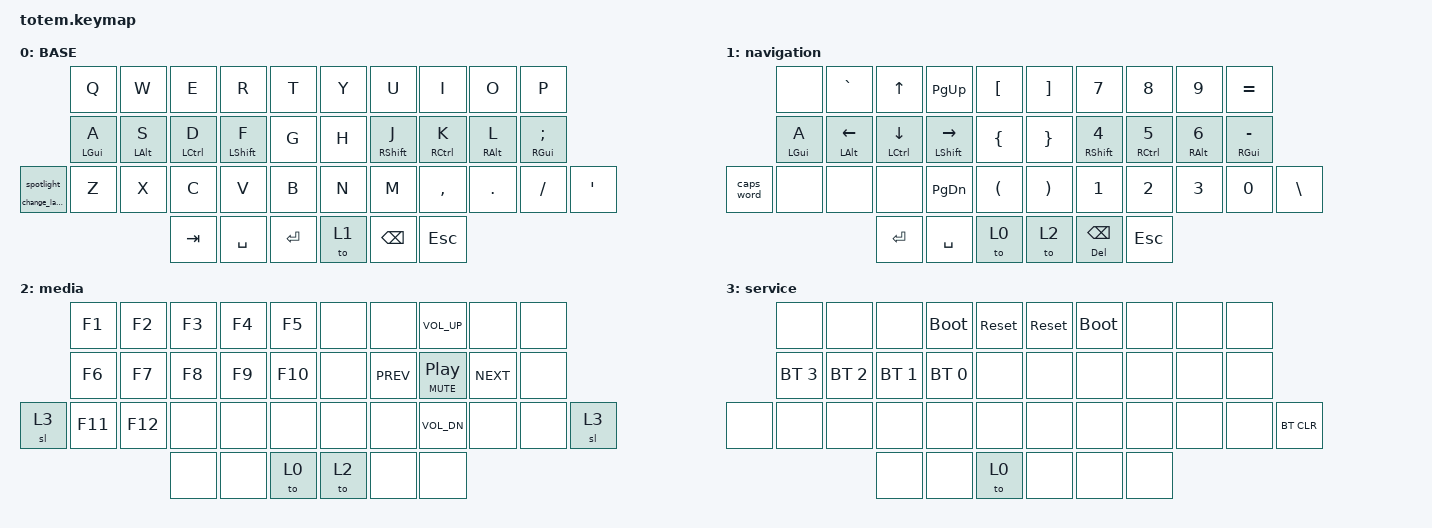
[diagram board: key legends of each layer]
//
//                                                        ▀▀▀▀▀     ▀▀▀▀▀          ▀▀█▀▀
//                                                        ▄▀▀▀▄  ▄  ▄▀▀▀▄  ▄  ▄▀▀▀▄  █  ▄▀▀▀▄
//                                                        █   █  █  █   █  █  █   █  █  █   █
//                                                         ▀▀▀   █   ▀▀▀   █   ▀▀▀   ▀   ▀▀▀
//                                                               █      ▄▄▄█▄▄▄    █   █  
//                                                               ▀      █  █  █     █▄█
//                                                             ▀▀▀▀▀    █  █  █      ▀
//                                                                      ▀  ▀  ▀
//
// ▄▄▄▄▄▄▄▄▄▄▄▄▄▄▄▄▄▄▄▄▄▄▄▄▄▄▄▄▄▄▄▄▄▄▄▄▄▄▄▄▄▄▄▄▄▄▄▄▄▄▄▄▄▄▄▄▄▄▄▄▄▄▄▄▄▄▄▄▄▄▄▄▄▄▄▄▄▄▄▄▄▄▄▄▄▄▄▄▄▄▄▄▄▄▄▄▄▄▄▄▄▄▄▄▄▄▄▄▄▄▄▄▄▄▄▄▄▄▄▄▄▄▄▄▄▄▄▄▄▄▄▄▄▄▄▄▄▄▄▄▄▄▄▄▄▄▄▄▄

#include <behaviors.dtsi>
#include <dt-bindings/zmk/bt.h>
#include <dt-bindings/zmk/keys.h>

#define BASE 0
#define NAV  1
#define SYM  2
#define ADJ  3
#define TVP1 4
#define TVP2 5

&mt {
    flavor = "tap-preferred";
    tapping-term-ms = <200>;
};

/ {
    combos { compatible = "zmk,combos"; };

    macros {
        change_language: change_language {
            compatible = "zmk,behavior-macro";
            #binding-cells = <0>;
            bindings = <&kp LG(SPACE)>;
            label = "CHANGE_LANGUAGE";
        };

        screenshot: screenshot {
            compatible = "zmk,behavior-macro";
            #binding-cells = <0>;
            bindings = <&kp LS(LG(S))>;
            label = "SCREENSHOT";
        };

        spotlight: spotlight {
            compatible = "zmk,behavior-macro";
            #binding-cells = <0>;
            bindings = <&kp LC(SPACE)>;
            label = "SPOTLIGHT";
        };
    };

    behaviors {
        p_bind: p_bind {
            compatible = "zmk,behavior-tap-dance";
            label = "P_BIND";
            #binding-cells = <0>;
            bindings = <&kp P>, <&kp LBKT>, <&kp RBKT>;
        };

        spot_language: spot_language {
            compatible = "zmk,behavior-hold-tap";
            label = "SPOT_LANGUAGE";
            bindings = <&change_language>, <&spotlight>;

            #binding-cells = <2>;
            tapping-term-ms = <250>;
            flavor = "tap-preferred";
        };

        hrm_shift: hrm_shift {
            compatible = "zmk,behavior-hold-tap";
            label = "HRM_SHIFT";
            bindings = <&kp>, <&kp>;

            #binding-cells = <2>;
            tapping-term-ms = <175>;
            flavor = "tap-preferred";
        };

        hrm_ctrl: hrm_ctrl {
            compatible = "zmk,behavior-hold-tap";
            label = "HRM_CTRL";
            bindings = <&kp>, <&kp>;

            #binding-cells = <2>;
            tapping-term-ms = <200>;
            flavor = "tap-preferred";
        };

        hrm_alt: hrm_alt {
            compatible = "zmk,behavior-hold-tap";
            label = "HRM_ALT";
            bindings = <&kp>, <&kp>;

            #binding-cells = <2>;
            tapping-term-ms = <220>;
            flavor = "tap-preferred";
        };

        hrm_gui: hrm_gui {
            compatible = "zmk,behavior-hold-tap";
            label = "HRM_GUI";
            bindings = <&kp>, <&kp>;

            #binding-cells = <2>;
            tapping-term-ms = <220>;
            flavor = "tap-preferred";
        };
    };

    keymap {
        compatible = "zmk,keymap";

        // ▄▄▄▄▄▄▄▄▄▄▄▄▄▄▄▄▄▄▄▄▄▄▄▄▄▄▄▄▄▄▄▄▄▄▄▄▄▄▄▄▄▄▄▄▄▄▄▄▄▄▄▄▄▄▄▄▄▄▄▄▄▄▄▄▄▄▄▄▄▄▄▄▄▄▄▄▄▄▄▄▄▄▄▄▄▄▄▄▄▄▄▄▄▄▄▄▄▄▄▄▄▄▄▄▄▄▄▄▄▄▄▄▄▄▄▄▄▄▄▄▄▄▄▄▄▄▄▄▄▄▄▄▄▄▄▄▄▄▄▄▄▄▄▄▄▄▄▄▄

        base_layer {
            // ┏━━━━━━━━━━━━━━━━━━━━━━━━━━━━━━━━━━━━━━━┓

            label = "BASE";

            // ┗━━━━━━━━━━━━━━━━━━━━━━━━━━━━━━━━━━━━━━━┛
            //             ┏━━━━━━━━━━━┳━━━━━━━━━━━┳━━━━━━━━━━━┳━━━━━━━━━━━┳━━━━━━━━━━━┓   ┏━━━━━━━━━━━┳━━━━━━━━━━━┳━━━━━━━━━━━┳━━━━━━━━━━━┳━━━━━━━━━━━┓
            //             ┃     Q     ┃     W     ┃     E     ┃     R     ┃     T     ┃   ┃     Y     ┃     U     ┃     I     ┃     O     ┃     P     ┃
            //             ┣━━━━━━━━━━━╋━━━━━━━━━━━╋━━━━━━━━━━━╋━━━━━━━━━━━╋━━━━━━━━━━━┫   ┣━━━━━━━━━━━╋━━━━━━━━━━━╋━━━━━━━━━━━╋━━━━━━━━━━━╋━━━━━━━━━━━┫
            //             ┃     A     ┃     S     ┃     D     ┃     F     ┃     G     ┃   ┃     H     ┃     J     ┃     K     ┃     L     ┃     ;     ┃
            // ┏━━━━━━━━━━━╋━━━━━━━━━━━╋━━━━━━━━━━━╋━━━━━━━━━━━╋━━━━━━━━━━━╋━━━━━━━━━━━┫   ┣━━━━━━━━━━━╋━━━━━━━━━━━╋━━━━━━━━━━━╋━━━━━━━━━━━╋━━━━━━━━━━━╋━━━━━━━━━━━┓
            // ┃     Q     ┃     Z     ┃     X     ┃     C     ┃     V     ┃     B     ┃   ┃     N     ┃     M     ┃     ,     ┃     .     ┃     /     ┃     \     ┃
            // ┗━━━━━━━━━━━┻━━━━━━━━━━━┻━━━━━━━━━━━╋━━━━━━━━━━━╋━━━━━━━━━━━╋━━━━━━━━━━━┫   ┣━━━━━━━━━━━╋━━━━━━━━━━━╋━━━━━━━━━━━╋━━━━━━━━━━━┻━━━━━━━━━━━┻━━━━━━━━━━━┛
            //                                     ┃    DEL    ┃    TAB    ┃    SPC    ┃   ┃   ENTER   ┃    ESC    ┃   BSPC    ┃
            //                                     ┗━━━━━━━━━━━┻━━━━━━━━━━━┻━━━━━━━━━━━┛   ┗━━━━━━━━━━━┻━━━━━━━━━━━┻━━━━━━━━━━━┛

            bindings = <
                    &kp Q            &kp W            &kp E              &kp R                &kp T        &kp Y  &kp U               &kp I              &kp O            &kp P
                    &hrm_gui LGUI A  &hrm_alt LALT S  &hrm_ctrl LCTRL D  &hrm_shift LSHIFT F  &kp G        &kp H  &hrm_shift RSHFT J  &hrm_ctrl RCTRL K  &hrm_alt RALT L  &hrm_gui RGUI SEMI
&spot_language 0 0  &kp Z            &kp X            &kp C              &kp V                &kp B        &kp N  &kp M               &kp COMMA          &kp DOT          &kp FSLH            &kp SQT
                                                      &kp TAB            &kp SPACE            &kp ENTER    &to 1  &kp BACKSPACE       &kp ESC
            >;
        };

        navigation {
            bindings = <
            &none            &kp GRAVE                 &kp UP                      &kp PG_UP                      &kp LBKT                &kp RBKT               &kp N7                &kp N8              &kp N9            &kp EQUAL
            &hrm_gui LGUI A  &hrm_alt LALT LEFT_ARROW  &hrm_ctrl LCTRL DOWN_ARROW  &hrm_shift LSHIFT RIGHT_ARROW  &kp LEFT_BRACE          &kp RIGHT_BRACE        &hrm_shift RSHFT N4   &hrm_ctrl RCTRL N5  &hrm_alt RALT N6  &hrm_gui RGUI MINUS
&caps_word  &none            &none                     &none                       &kp PG_DN                      &kp LEFT_PARENTHESIS    &kp RIGHT_PARENTHESIS  &kp N1                &kp N2              &kp N3            &kp N0               &kp BACKSLASH
                                                       &kp ENTER                   &kp SPACE                      &to 0                   &to 2                  &mt DELETE BACKSPACE  &kp ESC
            >;
        };

        media {
            bindings = <
       &kp F1   &kp F2   &kp F3  &kp F4  &kp F5     &none  &none       &kp C_VOL_UP     &none       &none
       &kp F6   &kp F7   &kp F8  &kp F9  &kp F10    &none  &kp C_PREV  &mt C_MUTE C_PP  &kp C_NEXT  &none
&sl 3  &kp F11  &kp F12  &none   &none   &none      &none  &none       &kp C_VOL_DN     &none       &none  &sl 3
                         &none   &none   &to 0      &to 2  &none       &none
            >;
        };

        service {
            bindings = <
       &none         &none         &none         &bootloader   &sys_reset    &sys_reset  &bootloader  &none  &none  &none
       &bt BT_SEL 3  &bt BT_SEL 2  &bt BT_SEL 1  &bt BT_SEL 0  &none         &none       &none        &none  &none  &none
&none  &none         &none         &none         &none         &none         &none       &none        &none  &none  &none  &bt BT_CLR
                                   &none         &none         &to 0         &none       &none        &none
            >;
        };

        // ▄▄▄▄▄▄▄▄▄▄▄▄▄▄▄▄▄▄▄▄▄▄▄▄▄▄▄▄▄▄▄▄▄▄▄▄▄▄▄▄▄▄▄▄▄▄▄▄▄▄▄▄▄▄▄▄▄▄▄▄▄▄▄▄▄▄▄▄▄▄▄▄▄▄▄▄▄▄▄▄▄▄▄▄▄▄▄▄▄▄▄▄▄▄▄▄▄▄▄▄▄▄▄▄▄▄▄▄▄▄▄▄▄▄▄▄▄▄▄▄▄▄▄▄▄▄▄▄▄▄▄▄▄▄▄▄▄▄▄▄▄▄▄▄▄▄▄▄▄
    };
};
